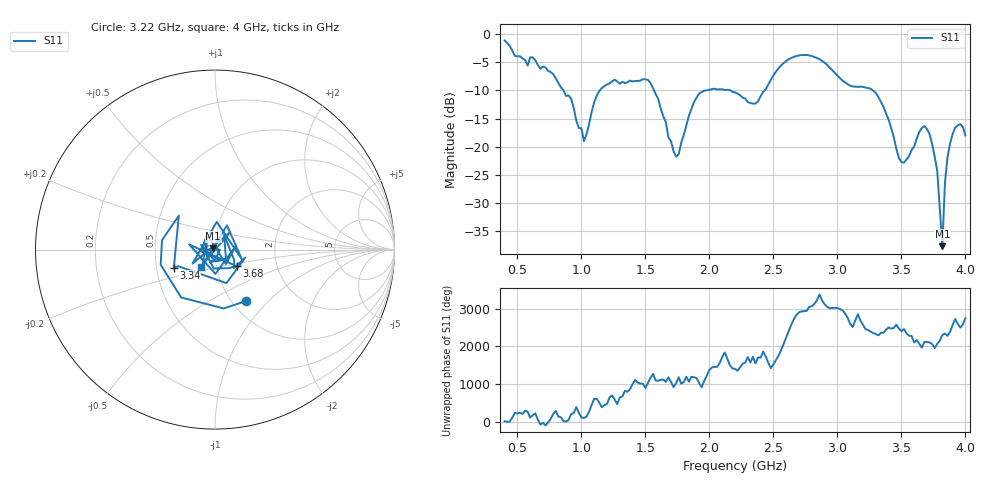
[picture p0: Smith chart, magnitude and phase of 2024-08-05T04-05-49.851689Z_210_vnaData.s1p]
!Created with skrf (http://scikit-rf.org).
# Hz S RI R 50.0
!freq ReS11 ImS11
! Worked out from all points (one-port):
!   181 points, 400 MHz to 4 GHz, reference 50 ohm
!   lowest |S11| = -37.6 dB at 3.82 GHz (marker M1), VSWR 1.03, Z = 49 + j0.779 ohm
!   |S11| at or under -10 dB: 860.5 MHz to 1.144 GHz (283.1 MHz wide, 28.2 % of centre); 1.567 GHz to 1.974 GHz (406.8 MHz wide, 23 % of centre); 3.276 GHz to end of sweep (the widest 3 of 4)
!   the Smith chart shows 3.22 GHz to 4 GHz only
!   S11 on the Smith chart (normalised r, x): 3.22 GHz: 1.16, -0.75; 3.34 GHz: 0.62, -0.13; 3.68 GHz: 1.25, -0.24; 4 GHz: 0.84, -0.17
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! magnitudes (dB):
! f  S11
! 400 MHz  -1.2
! 860 MHz  -10.0
! 920 MHz  -11.5
! 1.02 GHz  -19.0
! 1.14 GHz  -10.1
! 1.3 GHz  -8.8
! 1.54 GHz  -8.7
! 1.72 GHz  -20.8
! 1.76 GHz  -21.3
! 1.84 GHz  -14.5
! 1.92 GHz  -10.5
! 2.2 GHz  -10.4
! 2.36 GHz  -12.3
! 2.66 GHz  -4.1
! 2.86 GHz  -4.5
! 3.1 GHz  -9.2
! 3.22 GHz  -9.5
! 3.34 GHz  -12.0
! 3.48 GHz  -22.0
! 3.56 GHz  -21.6
! 3.68 GHz  -16.3
! 3.72 GHz  -17.7
! 3.78 GHz  -24.3
! 3.82 GHz  -37.6
! 3.84 GHz  -26.4
! 3.88 GHz  -19.4
! 3.94 GHz  -16.2
! 4 GHz  -18.0
